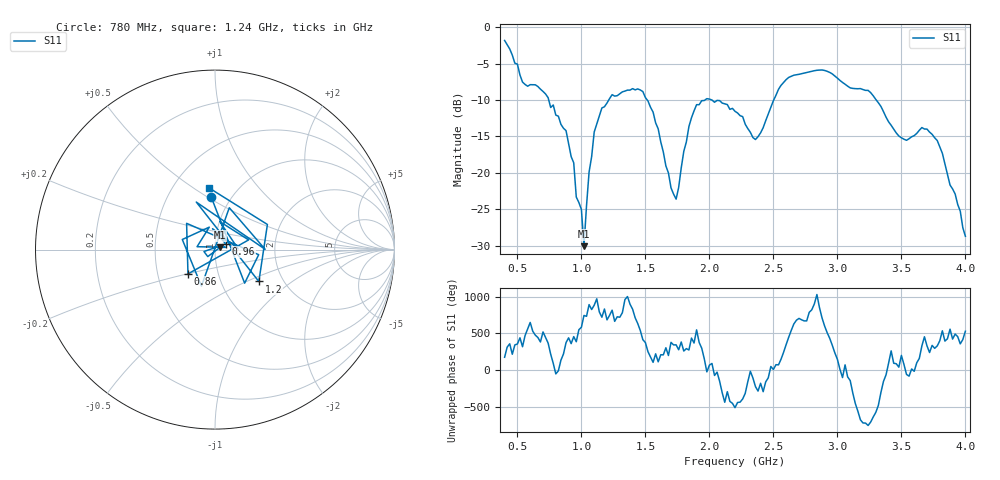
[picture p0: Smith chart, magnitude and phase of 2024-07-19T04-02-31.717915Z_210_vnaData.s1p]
!Created with skrf (http://scikit-rf.org).
# Hz S RI R 50.0
!freq ReS11 ImS11
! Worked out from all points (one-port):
!   181 points, 400 MHz to 4 GHz, reference 50 ohm
!   lowest |S11| = -30.1 dB at 1.02 GHz (marker M1), VSWR 1.06, Z = 52.9 + j1.33 ohm
!   |S11| at or under -10 dB: 744.9 MHz to 1.213 GHz (468.3 MHz wide, 47.8 % of centre); 2.021 GHz to 2.502 GHz (481.4 MHz wide, 21.3 % of centre); 3.304 GHz to end of sweep (the widest 3 of 4)
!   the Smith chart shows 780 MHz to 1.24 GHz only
!   S11 on the Smith chart (normalised r, x): 780 MHz: 0.81, +0.52; 860 MHz: 0.71, -0.20; 960 MHz: 1.13, +0.07; 1.2 GHz: 1.51, -0.59; 1.24 GHz: 0.75, +0.58
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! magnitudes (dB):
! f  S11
! 400 MHz  -1.8
! 540 MHz  -7.5
! 780 MHz  -10.7
! 860 MHz  -13.9
! 940 MHz  -18.6
! 960 MHz  -23.3
! 1 GHz  -25.0
! 1.02 GHz  -30.1
! 1.06 GHz  -19.9
! 1.1 GHz  -14.4
! 1.2 GHz  -10.4
! 1.24 GHz  -9.3
! 1.3 GHz  -9.1
! 1.48 GHz  -8.8
! 1.6 GHz  -14.0
! 1.7 GHz  -22.1
! 1.76 GHz  -22.0
! 1.84 GHz  -13.6
! 1.9 GHz  -10.6
! 2.2 GHz  -11.5
! 2.36 GHz  -15.4
! 2.66 GHz  -6.6
! 3.1 GHz  -8.3
! 3.24 GHz  -8.7
! 3.56 GHz  -15.3
! 3.66 GHz  -13.8
! 3.78 GHz  -15.6
! 4 GHz  -28.7
